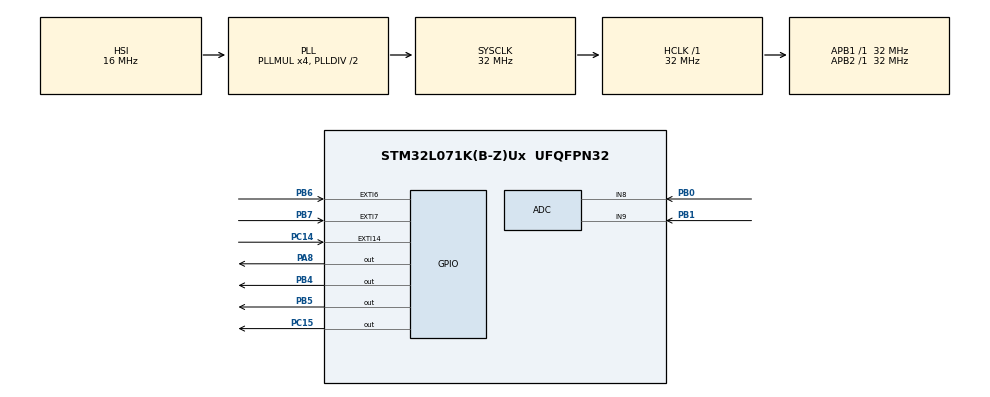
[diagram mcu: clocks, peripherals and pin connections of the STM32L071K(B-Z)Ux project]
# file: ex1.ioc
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ADC.DiscontinuousConvMode=ENABLE
Mcu.Family=STM32L0
Mcu.Name=STM32L071K(B-Z)Ux
Mcu.Package=UFQFPN32
NVIC.EXTI4_15_IRQn=true\:1\:0\:true\:false\:true\:true\:true
NVIC.TIM6_IRQn=true\:2\:0\:true\:false\:true\:true\:true
PA13.Mode=Serial_Wire
PA13.Signal=SYS_SWDIO
PA14.Mode=Serial_Wire
PA14.Signal=SYS_SWCLK
PA8.Signal=GPIO_Output
PB0.Mode=IN8
PB0.Signal=ADC_IN8
PB1.Mode=IN9
PB1.Signal=ADC_IN9
PB4.Signal=GPIO_Output
PB5.Signal=GPIO_Output
PB6.GPIO_ModeDefaultEXTI=GPIO_MODE_IT_RISING
PB6.GPIO_PuPd=GPIO_PULLDOWN
PB6.Signal=GPXTI6
PB7.GPIO_PuPd=GPIO_PULLDOWN
PB7.Signal=GPXTI7
PC14-OSC32_IN.GPIO_ModeDefaultEXTI=GPIO_MODE_IT_RISING
PC14-OSC32_IN.GPIO_PuPd=GPIO_PULLDOWN
PC14-OSC32_IN.Signal=GPXTI14
PC15-OSC32_OUT.Signal=GPIO_Output
ProjectManager.HeapSize=0x200
ProjectManager.StackSize=0x400
ProjectManager.TargetToolchain=MDK-ARM V5
RCC.AHBFreq_Value=32000000
RCC.APB1Freq_Value=32000000
RCC.APB1TimFreq_Value=32000000
RCC.APB2Freq_Value=32000000
RCC.APB2TimFreq_Value=32000000
RCC.HCLKFreq_Value=32000000
RCC.HSI16_VALUE=16000000
RCC.HSI_VALUE=16000000
RCC.LSE_VALUE=32768
RCC.MSI_VALUE=2097000
RCC.PLLMUL=RCC_PLLMUL_4
RCC.SYSCLKFreq_VALUE=32000000
RCC.SYSCLKSource=RCC_SYSCLKSOURCE_PLLCLK
RCC.VCOOutputFreq_Value=64000000
RTC.Format=RTC_FORMAT_BIN
RTC.SynchPrediv=307
TIM6.Period=999
TIM6.Prescaler=31
VP_RTC_VS_RTC_Activate.Mode=RTC_Enabled
VP_RTC_VS_RTC_Calendar.Mode=RTC_Calendar
VP_TIM6_VS_ClockSourceINT.Mode=Enable_Timer
board=custom

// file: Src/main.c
/* USER CODE BEGIN Header */
/**
  ******************************************************************************
  * @file           : main.c
  * @brief          : Main program body
  ******************************************************************************
  * @attention
  *
  * <h2><center>&copy; Copyright (c) 2019 STMicroelectronics.
  * All rights reserved.</center></h2>
  *
  * This software component is licensed by ST under BSD 3-Clause license,
  * the "License"; You may not use this file except in compliance with the
  * License. You may obtain a copy of the License at:
  *                        opensource.org/licenses/BSD-3-Clause
  *
  ******************************************************************************
  */
/* USER CODE END Header */

#include "main.h"
#include "adc.h"
#include "rtc.h"
#include "tim.h"
#include "gpio.h"

/* USER CODE BEGIN Includes */
#include "stm32l0xx_hal.h"
#include "zm4xx_gpio.h"
#include "spi.h"
#include "timer.h"
#include "stddef.h"
#include "sx127x_lora.h"
#include "key.h"
/* USER CODE END Includes */

/* USER CODE BEGIN PTD */
#define FREQ  (433000000)
void SystemClock_Config(void);
void Hardware_Init(void);
radio_handle_t  handle;

 int ret = RADIO_RET_OK;

    uint16_t len = 0;
		uint8_t rx[256];
		uint8_t tx = 0x55;
		uint8_t cntr = 0;
char lcdLine_1st_line[16];
char lcdLine_2st_line[16];
unsigned int timer=0,timer_lcd=0,timer_led=0;
unsigned int h=0,m=0,s=0,key_i=0,key_12=0;
/* USER CODE END PTD */

void SystemClock_Config(void);

/* USER CODE BEGIN 0 */
void Task_BrdInit(void)
{
    HAL_GPIO_WritePin(GPIOC, GPIO_PIN_15, GPIO_PIN_SET);

    OLED_PowerControl(ENABLE);

    HAL_Delay(200);
    OLED_Init();
    OLED_Clear();

    OLED_ShowString(0, 0, (unsigned char *)"                ", 16);
    OLED_ShowString(0, 2, (unsigned char *)"                ", 16);
}
void LoRa_Init(void)
{

	handle = radio_zm4xx_inst_init(spi_recv_byte,spi_send_byte,zm4xx_rst_pin_set,zm4xx_sel_pin_set,delay_ms,delay_us);

	if(handle != NULL){
		if(RADIO_RET_OK == radio_freq_set(handle, FREQ)){
				HAL_GPIO_WritePin(GPIOC, GPIO_PIN_15,GPIO_PIN_RESET);
		}

		radio_mode_set(handle, RX_MODE);	//Receive Mode
	}
}
//void key_en(void);
/* USER CODE END 0 */

int main(void)
{
  /* USER CODE BEGIN 1 */
	float ad_value[2];
	unsigned int i;
  /* USER CODE END 1 */

  /* MCU Configuration--------------------------------------------------------*/

  /* Reset of all peripherals, Initializes the Flash interface and the Systick. */
  HAL_Init();

  /* Configure the system clock */
  SystemClock_Config();

  /* Initialize all configured peripherals */
  MX_GPIO_Init();
  MX_RTC_Init();
  MX_TIM6_Init();
  MX_ADC_Init();
  /* USER CODE BEGIN 2 */
    Task_BrdInit();
		zm4xx_pin_init(); //LORA��Ҫ
    spi_init();//LORA��Ҫ
		LoRa_Init();
		HAL_TIM_Base_Start_IT(&htim6);
  /* USER CODE END 2 */

  /* Infinite loop */
    while (1)
    {

    /* USER CODE BEGIN 3 */
			HAL_RTC_GetTime(&hrtc, &sTime, RTC_FORMAT_BIN);
			HAL_RTC_GetDate(&hrtc, &sDate, RTC_FORMAT_BIN);

    sprintf(lcdLine_1st_line, "%2d:%2d:%2d",sTime.Hours,sTime.Minutes,sTime.Seconds);
    OLED_ShowString(0, 2, (unsigned char *)lcdLine_2st_line, 16);
			// if(key==0)
			// {
			// 	for(i=0;i<=1;i++)
			// 	{
			// 		HAL_ADC_Start(&hadc);
			// 		HAL_ADC_PollForConversion(&hadc,1000);
			// 		ad_value[i]=HAL_ADC_GetValue(&hadc)*(3.3/4095);
			// 	}
			// 	sprintf(lcdLine_1st_line, "V1:%.2f		",ad_value[1]);
			// 	sprintf(lcdLine_2st_line, "V2:%.2f		",ad_value[0]);
			// 	if(timer_lcd==1)
			// 	{
			// 		OLED_ShowString(0, 0, (unsigned char *)lcdLine_1st_line, 16);
			// 		OLED_ShowString(0, 2, (unsigned char *)lcdLine_2st_line, 16);
			// 	}
			// 	if(ad_value[1]<ad_value[0])
			// 	{
			// 		if(timer_led==1)
			// 			HAL_GPIO_WritePin(GPIOC, GPIO_PIN_15, GPIO_PIN_SET);
			// 		if(timer_led==0)
			// 			HAL_GPIO_WritePin(GPIOC, GPIO_PIN_15, GPIO_PIN_RESET);
			// 	}
			// 	else
			// 	{
			// 		HAL_GPIO_WritePin(GPIOC, GPIO_PIN_15, GPIO_PIN_SET);
			// 	}
			// }
			// if(key==1)
			// {
			// 	HAL_GPIO_WritePin(GPIOC, GPIO_PIN_15, GPIO_PIN_SET);
			// 	sprintf(lcdLine_1st_line, "RTC				");
			// 	sprintf(lcdLine_2st_line, "%2d-%2d-%2d",sTime.Hours,sTime.Minutes,sTime.Seconds);
			// 	if(timer_lcd==1)
			// 	{
			// 		OLED_ShowString(0, 0, (unsigned char *)lcdLine_1st_line, 16);
			// 		OLED_ShowString(0, 2, (unsigned char *)lcdLine_2st_line, 16);
			// 	}
			// }
			// radio_mode_set(handle, RX_MODE);
			// ret = radio_buf_recv(handle, rx, &len);
			// i=5000;
			// while(i--&&ret != RADIO_RET_OK)
			// 	ret = radio_buf_recv(handle, rx, &len);
			// if(ret == RADIO_RET_OK)
			// {
			// 	sscanf((char *)rx,"%d-%d-%d",&h,&m,&s);
			// 	sTime.Hours=h;
			// 	sTime.Minutes=m;
			// 	sTime.Seconds=s;
			// 	HAL_RTC_SetTime(&hrtc, &sTime, RTC_FORMAT_BIN);
			// }
    }
  /* USER CODE END 3 */
}
/* USER CODE BEGIN 4 */
void HAL_TIM_PeriodElapsedCallback(TIM_HandleTypeDef *htim)
{
	if(htim->Instance==TIM6)
	{
		timer++;
		if(timer%100==0)
		{
			timer_lcd=!timer_lcd;			//lcd
		}
		if(timer%200==0)
		{
			timer_led=!timer_led;			//lcd
		}
		if(timer==10000)
		{
			timer=0;
		}
	}
}
//void key_en()
//{
//	if(key==11)
//	{
//		key_i++;
//		if(key_i==2) key_i=0;
//		sTime.Hours=h;
//		sTime.Minutes=m;
//		sTime.Seconds=s;
//		HAL_RTC_SetTime(&hrtc, &sTime, RTC_FORMAT_BIN);
//		HAL_RTC_SetDate(&hrtc, &sDate, RTC_FORMAT_BIN);
//	}
//	if(key==12)
//	{
//		key_12++;
//		if(key_12==3)
//			key_12=0;
//	}
//	if(key==21)
//	{
//		switch(key_12)
//		{
//			case 0:
//			{
//				h++;
//				if(h>=24)	h=0;
//			}break;
//			case 1:
//			{
//				m++;
//				if(m>=60)	m=0;
//			}break;
//			case 2:
//			{
//				s++;
//				if(s>=60)	s=0;
//			}break;
//		}
//	}
//	if(key==22)
//	{
//		radio_buf_send(handle, (unsigned char *)lcdLine_2st_line, sizeof(lcdLine_2st_line));
//	}
//}
/* USER CODE END 4 */
void SystemClock_Config(void)
{
  RCC_OscInitTypeDef RCC_OscInitStruct = {0};
  RCC_ClkInitTypeDef RCC_ClkInitStruct = {0};
  RCC_PeriphCLKInitTypeDef PeriphClkInit = {0};

  /** Configure the main internal regulator output voltage
  */
  __HAL_PWR_VOLTAGESCALING_CONFIG(PWR_REGULATOR_VOLTAGE_SCALE1);
  /** Initializes the CPU, AHB and APB busses clocks
  */
  RCC_OscInitStruct.OscillatorType = RCC_OSCILLATORTYPE_HSI|RCC_OSCILLATORTYPE_LSI;
  RCC_OscInitStruct.HSIState = RCC_HSI_ON;
  RCC_OscInitStruct.HSICalibrationValue = RCC_HSICALIBRATION_DEFAULT;
  RCC_OscInitStruct.LSIState = RCC_LSI_ON;
  RCC_OscInitStruct.PLL.PLLState = RCC_PLL_ON;
  RCC_OscInitStruct.PLL.PLLSource = RCC_PLLSOURCE_HSI;
  RCC_OscInitStruct.PLL.PLLMUL = RCC_PLLMUL_4;
  RCC_OscInitStruct.PLL.PLLDIV = RCC_PLLDIV_2;
  if (HAL_RCC_OscConfig(&RCC_OscInitStruct) != HAL_OK)
  {
    Error_Handler();
  }
  /** Initializes the CPU, AHB and APB busses clocks
  */
  RCC_ClkInitStruct.ClockType = RCC_CLOCKTYPE_HCLK|RCC_CLOCKTYPE_SYSCLK
                              |RCC_CLOCKTYPE_PCLK1|RCC_CLOCKTYPE_PCLK2;
  RCC_ClkInitStruct.SYSCLKSource = RCC_SYSCLKSOURCE_PLLCLK;
  RCC_ClkInitStruct.AHBCLKDivider = RCC_SYSCLK_DIV1;
  RCC_ClkInitStruct.APB1CLKDivider = RCC_HCLK_DIV1;
  RCC_ClkInitStruct.APB2CLKDivider = RCC_HCLK_DIV1;

  if (HAL_RCC_ClockConfig(&RCC_ClkInitStruct, FLASH_LATENCY_1) != HAL_OK)
  {
    Error_Handler();
  }
  PeriphClkInit.PeriphClockSelection = RCC_PERIPHCLK_RTC;
  PeriphClkInit.RTCClockSelection = RCC_RTCCLKSOURCE_LSI;
  if (HAL_RCCEx_PeriphCLKConfig(&PeriphClkInit) != HAL_OK)
  {
    Error_Handler();
  }
}

void Error_Handler(void)
{
}

/************************ (C) COPYRIGHT STMicroelectronics *****END OF FILE****/
